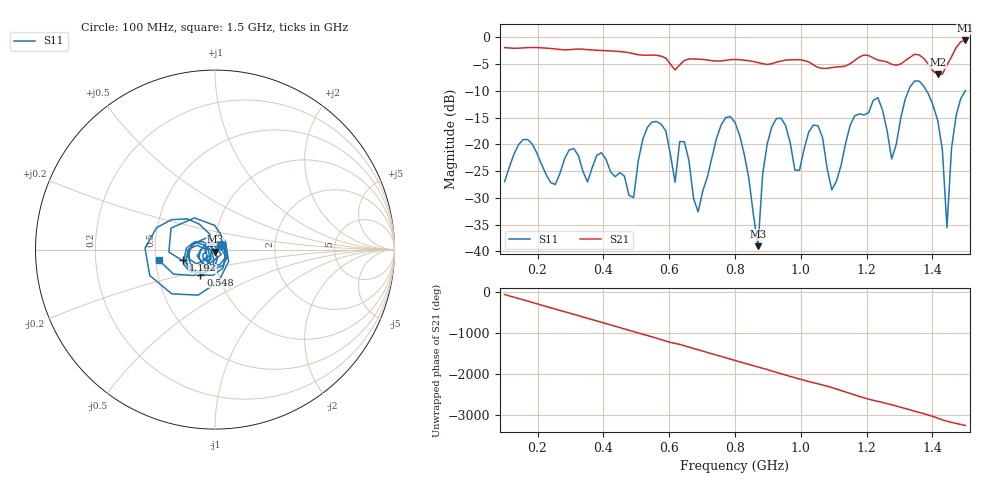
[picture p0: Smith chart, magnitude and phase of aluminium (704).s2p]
! NanoVNA-App
! Date: 2025-09-25 15:00:45
! Start: 100MHz Stop: 1,5GHz Points: 101
! S-Parameter data: F S11 S21 S12 S22
# Hz S RI R 50
!  Frequency  S11_Real  S11_Imag  S21_Real  S21_Imag  S12_Real  S12_Imag  S22_Real  S22_Imag
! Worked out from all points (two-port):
!   101 points, 100 MHz to 1.5 GHz, reference 50 ohm
!   highest |S21| = -0.58 dB at 1.5 GHz (marker M1); lowest = -6.9 dB at 1.416 GHz (marker M2)
!   |S21| within 3 dB of the highest: start of sweep to 578 MHz; 1.458 GHz to end of sweep (the widest 2 of 4)
!   lowest |S11| = -39.0 dB at 870 MHz (marker M3), VSWR 1.02, Z = 50.1 - j1.11 ohm
!   |S11| at or under -10 dB: start of sweep to 1.327 GHz; 1.382 GHz to 1.5 GHz (117.7 MHz wide, 8.17 % of centre)
!   S12 and S22 are empty: the file has one direction only
!   S11 on the Smith chart (normalised r, x): 100 MHz: 1.07, +0.06; 548 MHz: 0.82, -0.23; 1.192 GHz: 0.69, -0.09; 1.5 GHz: 0.52, -0.07
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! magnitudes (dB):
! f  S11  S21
! 100 MHz  -27.0  -1.9
! 156 MHz  -19.1  -2.0
! 338 MHz  -25.1  -2.2
! 492 MHz  -29.9  -3.1
! 548 MHz  -15.8  -3.3
! 576 MHz  -16.3  -3.5
! 646 MHz  -19.5  -4.3
! 688 MHz  -32.6  -4.1
! 800 MHz  -15.9  -4.1
! 870 MHz  -39.0  -4.7
! 912 MHz  -16.7  -4.9
! 996 MHz  -24.8  -4.2
! 1.038 GHz  -16.4  -5.1
! 1.094 GHz  -28.5  -5.7
! 1.192 GHz  -14.5  -3.3
! 1.234 GHz  -11.3  -4.2
! 1.276 GHz  -22.7  -5.0
! 1.346 GHz  -8.2  -3.2
! 1.416 GHz  -15.6  -6.9
! 1.444 GHz  -35.6  -5.2
! 1.458 GHz  -20.7  -3.6
! 1.5 GHz  -10.0  -0.6
